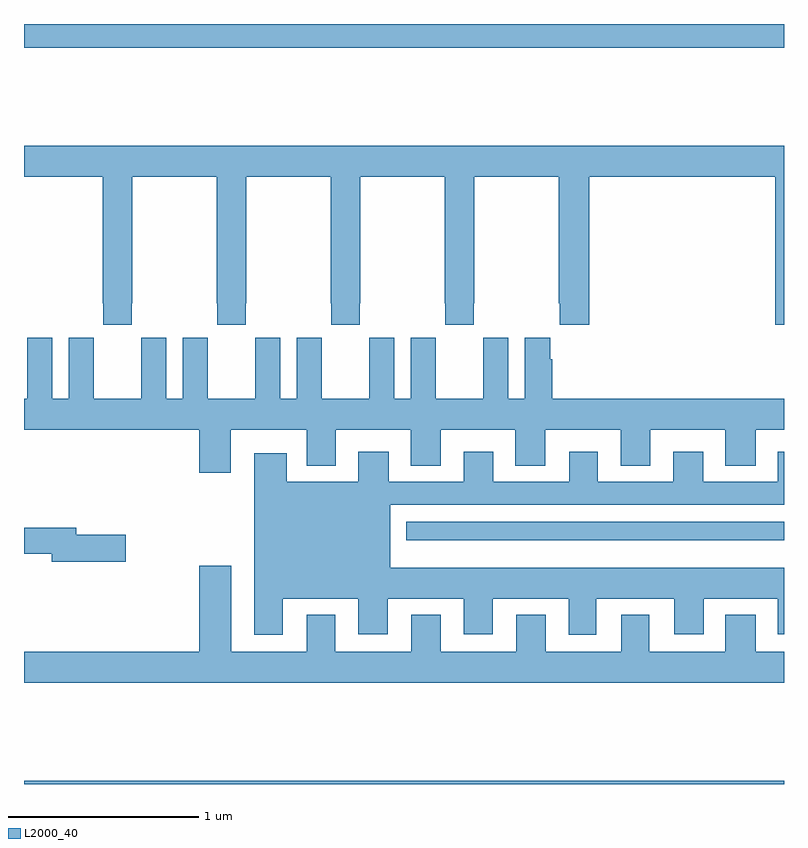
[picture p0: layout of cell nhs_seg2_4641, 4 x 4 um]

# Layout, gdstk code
import gdstk
lib = gdstk.Library(unit=1e-6, precision=1e-09)
def R(c, l, rs):  # rectangles x0, y0, x1, y1
    for r in rs: c.add(gdstk.rectangle(r[:2], r[2:], *l))
def P(c, l, *ps):  # polygons
    for p in ps: c.add(gdstk.Polygon(p, *l))
L2000_40 = (2000, 40)

nhs_seg2_4641 = lib.new_cell('nhs_seg2_4641')
R(nhs_seg2_4641, L2000_40, [(363,617.8,367,617.816), (365.012,619.082,367,619.179), (363,621.676,367,621.8)])
P(nhs_seg2_4641, L2000_40, [(363.567,620.329),(363.57,620.329),(363.57,620.996),(364.015,620.996),(364.015,620.329),(364.017,620.329),(364.017,620.217),(364.167,620.217),(364.167,620.329),(364.17,620.329),(364.17,620.996),(364.615,620.996),(364.615,620.329),(364.617,620.329),(364.617,620.217),(364.767,620.217),(364.767,620.329),(364.77,620.329),(364.77,620.996),(365.215,620.996),(365.215,620.329),(365.217,620.329),(365.217,620.217),(365.367,620.217),(365.367,620.329),(365.37,620.329),(365.37,620.996),(365.815,620.996),(365.815,620.329),(365.821,620.329),(365.821,620.217),(365.975,620.217),(365.975,620.996),(366.953,620.996),(366.953,620.217),(367,620.217),(367,621.16),(363,621.16),(363,620.996),(363.415,620.996),(363.415,620.329),(363.417,620.329),(363.417,620.217),(363.567,620.217)],
  [(364.642,619.664),(365.036,619.664),(365.036,619.475),(365.194,619.475),(365.194,619.664),(365.585,619.664),(365.585,619.475),(365.743,619.475),(365.743,619.664),(366.14,619.664),(366.14,619.475),(366.295,619.475),(366.295,619.664),(366.692,619.664),(366.692,619.475),(366.85,619.475),(366.85,619.664),(367,619.664),(367,619.828),(365.78,619.828),(365.78,620.036),(365.77,620.036),(365.77,620.149),(365.636,620.149),(365.636,619.828),(365.548,619.828),(365.548,620.149),(365.418,620.149),(365.418,620.036),(365.417,620.036),(365.417,619.828),(365.167,619.828),(365.167,620.036),(365.166,620.036),(365.166,620.149),(365.036,620.149),(365.036,619.828),(364.948,619.828),(364.948,620.149),(364.818,620.149),(364.818,620.036),(364.817,620.036),(364.817,619.828),(364.567,619.828),(364.567,620.036),(364.566,620.036),(364.566,620.149),(364.436,620.149),(364.436,619.828),(364.348,619.828),(364.348,620.149),(364.218,620.149),(364.218,620.036),(364.217,620.036),(364.217,619.828),(363.967,619.828),(363.967,620.036),(363.966,620.036),(363.966,620.149),(363.836,620.149),(363.836,619.828),(363.748,619.828),(363.748,620.149),(363.618,620.149),(363.618,620.036),(363.617,620.036),(363.617,619.828),(363.367,619.828),(363.367,620.036),(363.366,620.036),(363.366,620.149),(363.236,620.149),(363.236,619.828),(363.148,619.828),(363.148,620.149),(363.018,620.149),(363.018,620.036),(363.017,620.036),(363.017,619.828),(363,619.828),(363,619.664),(363.923,619.664),(363.923,619.437),(364.087,619.437),(364.087,619.664),(364.487,619.664),(364.487,619.475),(364.642,619.475)],
  [(364.363,618.776),(364.76,618.776),(364.76,618.588),(364.915,618.588),(364.915,618.776),(365.315,618.776),(365.315,618.588),(365.467,618.588),(365.467,618.776),(365.867,618.776),(365.867,618.585),(366.013,618.585),(366.013,618.776),(366.422,618.776),(366.422,618.588),(366.577,618.588),(366.577,618.776),(366.968,618.776),(366.968,618.588),(367,618.588),(367,618.937),(364.927,618.937),(364.927,619.271),(367,619.271),(367,619.549),(366.968,619.549),(366.968,619.39),(366.574,619.39),(366.574,619.549),(366.416,619.549),(366.416,619.39),(366.019,619.39),(366.019,619.549),(365.87,619.549),(365.87,619.39),(365.47,619.39),(365.47,619.549),(365.315,619.549),(365.315,619.39),(364.921,619.39),(364.921,619.549),(364.76,619.549),(364.76,619.39),(364.384,619.39),(364.384,619.54),(364.211,619.54),(364.211,618.585),(364.363,618.585)],
  [(363.535,619.112),(363.274,619.112),(363.274,619.148),(363,619.148),(363,619.012),(363.146,619.012),(363.146,618.97),(363.535,618.97)],
  [(367,618.496),(366.85,618.496),(366.85,618.691),(366.692,618.691),(366.692,618.496),(366.292,618.496),(366.292,618.691),(366.143,618.691),(366.143,618.496),(365.746,618.496),(365.746,618.691),(365.591,618.691),(365.591,618.496),(365.194,618.496),(365.194,618.691),(365.039,618.691),(365.039,618.496),(364.639,618.496),(364.639,618.691),(364.487,618.691),(364.487,618.496),(364.09,618.496),(364.09,618.949),(363.923,618.949),(363.923,618.496),(363,618.496),(363,618.332),(367,618.332)])

lib.write_gds('nhs_seg2_4641.gds')
